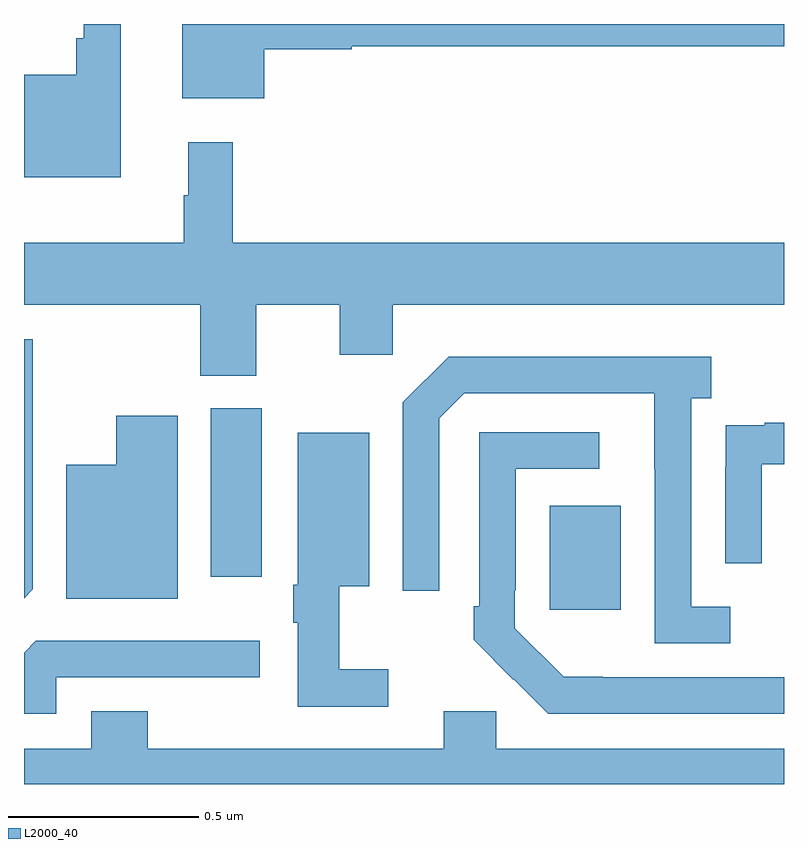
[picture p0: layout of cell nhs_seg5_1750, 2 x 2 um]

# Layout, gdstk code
import gdstk
lib = gdstk.Library(unit=1e-6, precision=1e-09)
def R(c, l, rs):  # rectangles x0, y0, x1, y1
    for r in rs: c.add(gdstk.rectangle(r[:2], r[2:], *l))
def P(c, l, *ps):  # polygons
    for p in ps: c.add(gdstk.Polygon(p, *l))
L2000_40 = (2000, 40)

nhs_seg5_1750 = lib.new_cell('nhs_seg5_1750')
R(nhs_seg5_1750, L2000_40, [(135.383,889.257,135.571,889.531), (134.492,889.344,134.626,889.788)])
P(nhs_seg5_1750, L2000_40, [(134.254,890.799),(134.157,890.799),(134.157,890.761),(134.137,890.761),(134.137,890.665),(134,890.665),(134,890.396),(134.254,890.396)],
  [(134.632,890.732),(134.862,890.732),(134.862,890.74),(136,890.74),(136,890.799),(134.417,890.799),(134.417,890.603),(134.632,890.603)],
  [(134.611,890.06),(134.831,890.06),(134.831,889.929),(134.97,889.929),(134.97,890.06),(136,890.06),(136,890.224),(134.549,890.224),(134.549,890.488),(134.432,890.488),(134.432,890.348),(134.421,890.348),(134.421,890.224),(134,890.224),(134,890.06),(134.464,890.06),(134.464,889.873),(134.611,889.873)],
  [(134.023,889.311),(134.023,889.969),(134,889.969),(134,889.288)],
  [(135.859,889.266),(135.756,889.266),(135.756,889.814),(135.808,889.814),(135.808,889.924),(135.118,889.924),(134.997,889.803),(134.997,889.308),(135.093,889.308),(135.093,889.761),(135.159,889.827),(135.659,889.827),(135.659,889.627),(135.66,889.627),(135.66,889.17),(135.859,889.17)],
  [(134.404,889.768),(134.243,889.768),(134.243,889.639),(134.111,889.639),(134.111,889.286),(134.404,889.286)],
  [(135.942,889.641),(136,889.641),(136,889.75),(135.949,889.75),(135.949,889.743),(135.847,889.743),(135.847,889.634),(135.846,889.634),(135.846,889.38),(135.942,889.38)],
  [(136,889.08),(135.523,889.08),(135.523,889.081),(135.42,889.081),(135.291,889.209),(135.291,889.309),(135.294,889.309),(135.294,889.629),(135.514,889.629),(135.514,889.725),(135.198,889.725),(135.198,889.267),(135.183,889.267),(135.183,889.179),(135.288,889.074),(135.289,889.075),(135.38,888.984),(136,888.984)],
  [(134.959,889.101),(134.83,889.101),(134.83,889.319),(134.908,889.319),(134.908,889.723),(134.72,889.723),(134.72,889.323),(134.709,889.323),(134.709,889.223),(134.721,889.223),(134.721,889.002),(134.959,889.002)],
  [(134.085,889.08),(134.62,889.08),(134.62,889.176),(134.031,889.176),(134,889.145),(134,888.984),(134.085,888.984)],
  [(136,888.892),(135.243,888.892),(135.243,888.99),(135.104,888.99),(135.104,888.892),(134.325,888.892),(134.325,888.991),(134.177,888.991),(134.177,888.892),(134,888.892),(134,888.799),(136,888.799)])

lib.write_gds('nhs_seg5_1750.gds')
